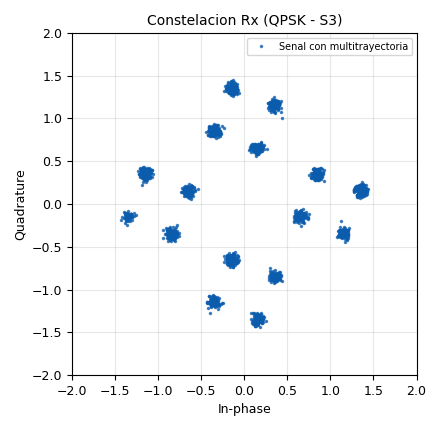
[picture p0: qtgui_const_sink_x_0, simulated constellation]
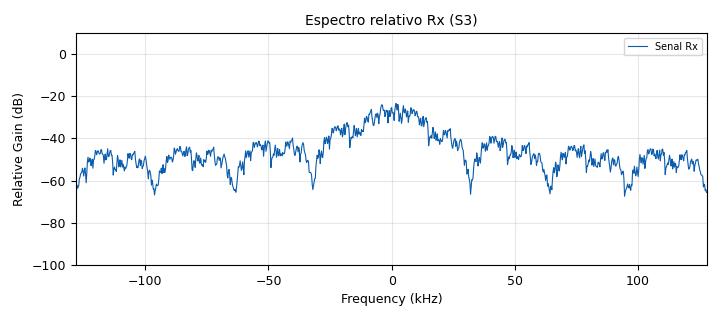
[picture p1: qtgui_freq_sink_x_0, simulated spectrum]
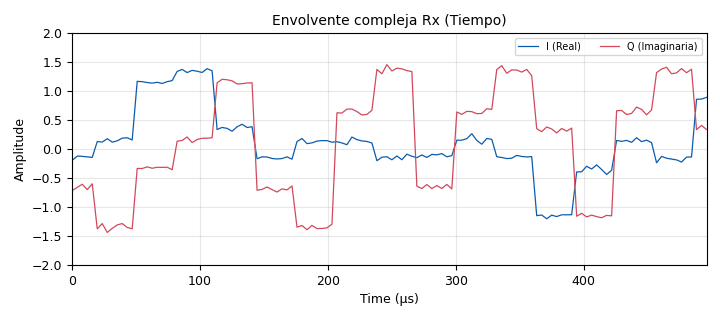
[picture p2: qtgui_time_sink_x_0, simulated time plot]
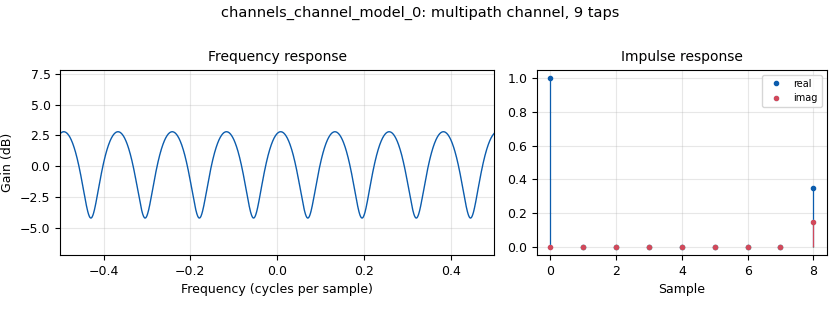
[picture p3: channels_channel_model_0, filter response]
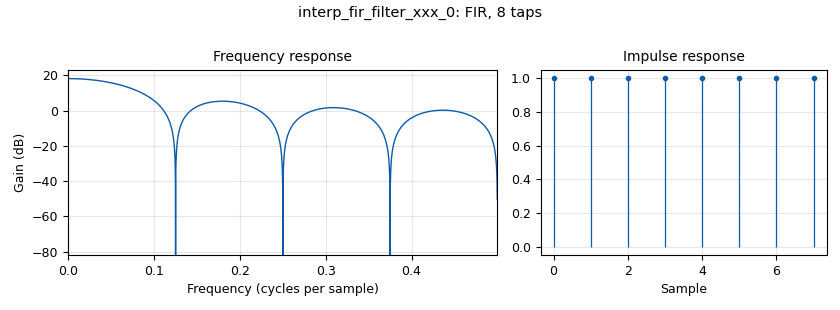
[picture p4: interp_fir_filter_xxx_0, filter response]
options:
  parameters:
    author: Fabian Chacon V., Javier Gomez S., Juan Santos L. (Grupo 3)
    comment: GRC modificado para Escenario S3 - Multitrayectoria QPSK
    description: Camino directo + eco retardado un simbolo (8 muestras) en QPSK
    generate_options: qt_gui
    id: Enlace_S3_Multitrayectoria_Grupo3
    output_language: python
    title: Enlace S3 Multitrayectoria - Grupo 3
  states: {}

blocks:
- name: M
  id: variable
  parameters:
    value: len(tabla_de_verdad_constelacion)
  states: {}
- name: Rb
  id: variable
  parameters:
    comment: Rb = Rs * k = 64 kb/s
    value: Rs*bps
  states: {}
- name: Rs
  id: variable
  parameters:
    value: '32000'
  states: {}
- name: Sps
  id: variable
  parameters:
    value: '8'
  states: {}
- name: bps
  id: variable
  parameters:
    value: int(math.log(M,2))
  states: {}
- name: eco_imag
  id: variable_qtgui_range
  parameters:
    comment: 'Ref: 0.0 | Suave: 0.05 | Media: 0.15 | Fuerte: 0.20'
    gui_hint: 2,0,1,1
    label: Parte Imaginaria del Eco (beta)
    start: '0'
    step: '0.05'
    stop: '0.30'
    value: '0.15'
  states: {}
- name: eco_real
  id: variable_qtgui_range
  parameters:
    comment: 'Ref: 0.0 | Suave: 0.20 | Media: 0.35 | Fuerte: 0.50'
    gui_hint: 1,0,1,1
    label: Parte Real del Eco (alfa)
    start: '0'
    step: '0.05'
    stop: '0.60'
    value: '0.35'
  states: {}
- name: h
  id: variable
  parameters:
    value: '[1]*Sps'
  states: {}
- name: noise_amp
  id: variable_qtgui_range
  parameters:
    gui_hint: 0,0,1,1
    label: Voltaje de ruido AWGN (noise_voltage)
    start: '0'
    step: '0.01'
    stop: '0.5'
    value: '0.05'
  states: {}
- name: samp_rate
  id: variable
  parameters:
    value: Rs*Sps
  states: {}
- name: tabla_de_verdad_constelacion
  id: variable
  parameters:
    comment: Tabla QPSK seleccionada para Escenario S3
    value: (1+0j, 0+1j, -1+0j, 0-1j)
  states: {}
- name: taps_canal
  id: variable
  parameters:
    comment: Camino directo en muestra 0 + eco en muestra 8 (1 simbolo)
    value: '[1+0j, 0j, 0j, 0j, 0j, 0j, 0j, 0j, complex(eco_real, eco_imag)]'
  states: {}
- name: analog_random_source_x_0
  id: analog_random_source_x
  parameters:
    comment: Fuente de bits aleatorios 0/1 para la simulacion QPSK.
    max: '2'
    min: '0'
    num_samps: '1000'
    repeat: 'True'
    type: byte
  states: {}
- name: blocks_pack_k_bits_bb_0
  id: blocks_pack_k_bits_bb
  parameters:
    comment: Empaqueta bits de entrada antes de formar los grupos de dos bits.
    k: '8'
  states: {}
- name: blocks_packed_to_unpacked_xx_0
  id: blocks_packed_to_unpacked_xx
  parameters:
    bits_per_chunk: bps
    comment: Entrega grupos de dos bits en orden MSB-first para seleccionar simbolos QPSK.
    endianness: gr.GR_MSB_FIRST
    type: byte
  states: {}
- name: channels_channel_model_0
  id: channels_channel_model
  parameters:
    comment: Modelo de canal multitrayectoria S3
    epsilon: '1.0'
    freq_offset: '0.0'
    noise_voltage: noise_amp
    seed: '0'
    taps: taps_canal
  states: {}
- name: digital_chunks_to_symbols_xx_0
  id: digital_chunks_to_symbols_xx
  parameters:
    comment: Mapea cada grupo de dos bits segun la tabla QPSK cardinal del GRC.
    dimension: '1'
    in_type: byte
    out_type: complex
    symbol_table: tabla_de_verdad_constelacion
  states: {}
- name: import_0
  id: import
  parameters:
    imports: import math
  states: {}
- name: interp_fir_filter_xxx_0
  id: interp_fir_filter_xxx
  parameters:
    comment: Interpola por SPS con pulsos rectangulares dados por h=[1]*SPS.
    interp: Sps
    taps: h
    type: ccf
  states: {}
- name: qtgui_const_sink_x_0
  id: qtgui_const_sink_x
  parameters:
    comment: Observa las muestras complejas despues del canal; no son decisiones de simbolo.
    grid: 'True'
    gui_hint: 3,0,1,1
    label1: '"Senal con multitrayectoria"'
    name: '"Constelacion Rx (QPSK - S3)"'
    size: '2048'
    type: complex
  states: {}
- name: qtgui_freq_sink_x_0
  id: qtgui_freq_sink_x
  parameters:
    average: '0.2'
    bw: samp_rate
    comment: Espectro relativo en dB de la salida del canal; no es PSD calibrada.
    fc: '0'
    fftsize: '1024'
    grid: 'True'
    gui_hint: 3,1,1,1
    label1: Senal Rx
    name: Espectro relativo Rx (S3)
    type: complex
    ymin: '-100'
  states: {}
- name: qtgui_time_sink_x_0
  id: qtgui_time_sink_x
  parameters:
    comment: Observa las componentes I y Q de la salida del canal en el tiempo.
    grid: 'True'
    gui_hint: 4,0,1,2
    label1: I (Real)
    label2: Q (Imaginaria)
    name: '"Envolvente compleja Rx (Tiempo)"'
    size: '128'
    srate: samp_rate
    type: complex
    ymax: '2'
    ymin: '-2'
  states: {}
- name: throttle_0
  id: blocks_throttle2
  parameters:
    comment: Limita el flujo simulado a la tasa de muestreo configurada.
    samples_per_second: samp_rate
    type: complex
  states: {}

connections:
- [analog_random_source_x_0, '0', blocks_pack_k_bits_bb_0, '0']
- [blocks_pack_k_bits_bb_0, '0', blocks_packed_to_unpacked_xx_0, '0']
- [blocks_packed_to_unpacked_xx_0, '0', digital_chunks_to_symbols_xx_0, '0']
- [channels_channel_model_0, '0', qtgui_const_sink_x_0, '0']
- [channels_channel_model_0, '0', qtgui_freq_sink_x_0, '0']
- [channels_channel_model_0, '0', qtgui_time_sink_x_0, '0']
- [digital_chunks_to_symbols_xx_0, '0', interp_fir_filter_xxx_0, '0']
- [interp_fir_filter_xxx_0, '0', throttle_0, '0']
- [throttle_0, '0', channels_channel_model_0, '0']

metadata:
  file_format: 1
  grc_version: 3.10.12.0
